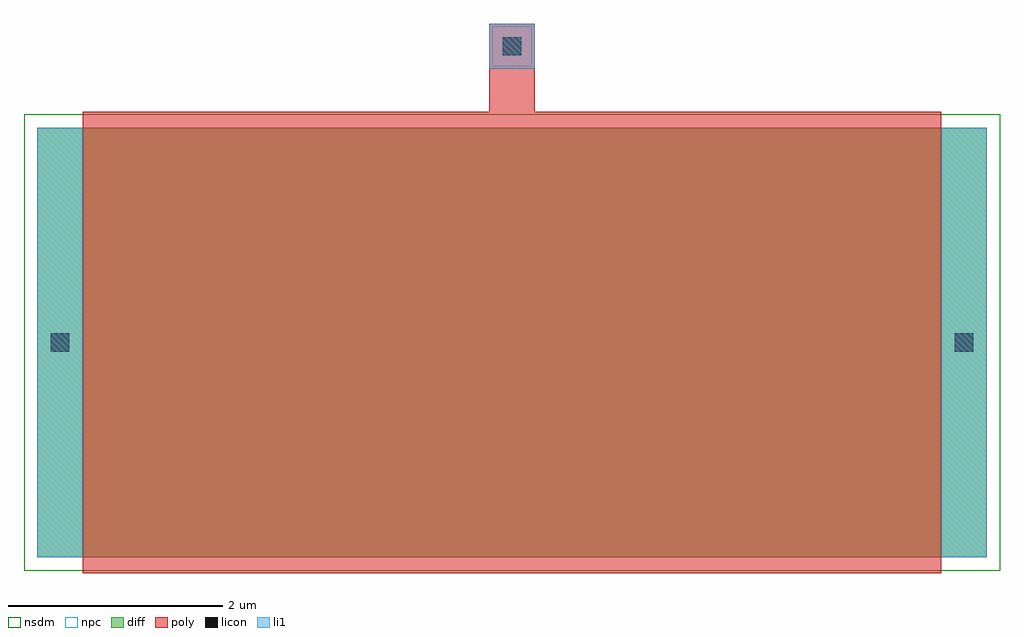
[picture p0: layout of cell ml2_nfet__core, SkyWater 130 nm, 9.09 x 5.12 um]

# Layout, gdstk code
import gdstk
lib = gdstk.Library(unit=1e-6, precision=1e-09)
def R(c, l, rs):  # rectangles x0, y0, x1, y1
    for r in rs: c.add(gdstk.rectangle(r[:2], r[2:], *l))
diff = (65, 20)
poly = (66, 20)
licon = (66, 44)
li1 = (67, 20)
nsdm = (93, 44)
npc = (95, 20)

ml2_nfet__core = lib.new_cell('ml2_nfet__core')
R(ml2_nfet__core, diff, [(0,0,8.84,4)])
R(ml2_nfet__core, poly, [(0.42,-0.15,8.42,4), (0.42,4,8.42,4.15), (0.42,4,8.42,4.15), (4.21,4.15,4.63,4.97)])
R(ml2_nfet__core, licon, [(0.125,1.915,0.295,2.085), (8.545,1.915,8.715,2.085), (4.335,4.675,4.505,4.845)])
R(ml2_nfet__core, li1, [(0,0,0.42,4), (8.42,0,8.84,4), (4.21,4.55,4.63,4.97)])
R(ml2_nfet__core, nsdm, [(-0.125,-0.125,8.965,4.125)])
R(ml2_nfet__core, npc, [(4.235,4.575,4.605,4.945)])

lib.write_gds('ml2_nfet__core.gds')
